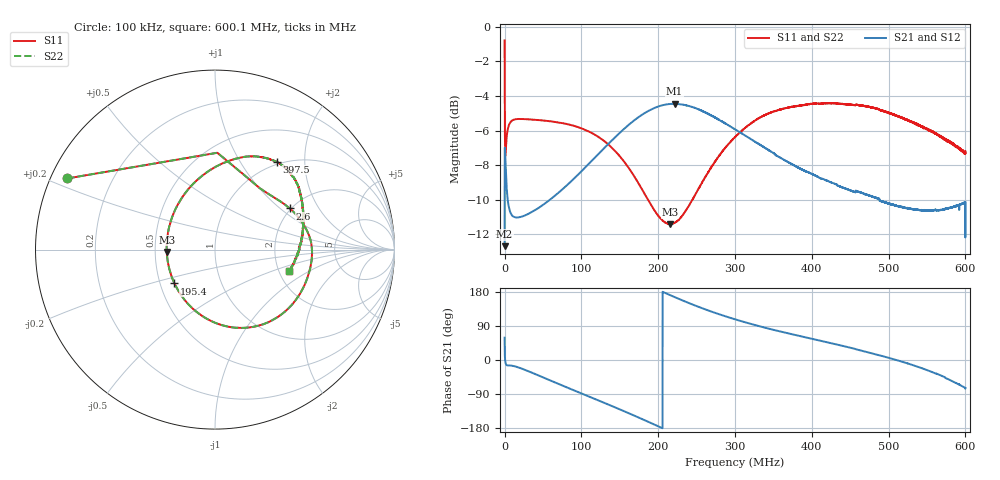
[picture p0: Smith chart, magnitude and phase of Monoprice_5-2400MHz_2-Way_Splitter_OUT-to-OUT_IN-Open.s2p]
! ListType=Lin
! Comment=Monoprice_5-2400MHz_2-Way_Splitter_OUT-to-OUT_IN-Open
# MHZ S DB R 50
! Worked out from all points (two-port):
!   6000 points, 100 kHz to 600.1 MHz, reference 50 ohm
!   highest |S21| = -4.45 dB at 221.4 MHz (marker M1); lowest = -12.7 dB at 100 kHz (marker M2)
!   |S21| within 3 dB of the highest: 267.3 kHz to 860.2 kHz (592.9 kHz wide, 105 % of centre); 120.2 MHz to 354.3 MHz (234.1 MHz wide, 98.6 % of centre)
!   lowest |S11| = -11.4 dB at 215.6 MHz (marker M3), VSWR 1.74, Z = 28.8 - j0.835 ohm
!   |S11| at or under -10 dB: 186.8 MHz to 244.5 MHz (57.65 MHz wide, 26.7 % of centre)
!   |S22| runs from -11.4 to -0.8 dB; largest |S21 - S12| = 0.039
!   S11 on the Smith chart (normalised r, x): 100 kHz: 0.05, +0.23; 2.6 MHz: 1.97, +1.17; 195.4 MHz: 0.59, -0.24; 397.5 MHz: 0.96, +1.46; 600.1 MHz: 2.28, -0.67
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0.1  -0.79 154.3  -12.68 58.9  -12.70 59.0  -0.79 154.3
2.600417  -6.45 28.8  -9.14 -13.3  -9.14 -13.3  -6.45 28.8
3.40055  -6.13 22.8  -9.65 -14.1  -9.65 -14.1  -6.13 22.8
5.000817  -5.79 15.5  -10.27 -14.3  -10.27 -14.3  -5.79 15.5
13.80228  -5.35 0.2  -11.01 -16.9  -11.01 -16.9  -5.35 0.2
57.60958  -5.45 -26.7  -10.05 -52.3  -10.05 -52.3  -5.45 -26.7
100.1167  -5.87 -49.8  -8.35 -88.2  -8.36 -88.2  -5.87 -49.8
126.8211  -6.51 -66.7  -7.14 -110.6  -7.15 -110.6  -6.51 -66.7
150.225  -7.49 -84.9  -6.12 -130.4  -6.12 -130.4  -7.49 -84.9
172.3287  -8.89 -107.5  -5.29 -149.8  -5.29 -149.8  -8.89 -107.5
195.4326  -10.62 -140.2  -4.69 -170.7  -4.69 -170.7  -10.62 -140.2
200.1333  -10.92 -148.2  -4.61 -174.9  -4.61 -174.9  -10.92 -148.2
215.6359  -11.40 -177.1  -4.46 171.2  -4.46 171.2  -11.41 -177.2
221.4369  -11.32 171.8  -4.45 166.1  -4.45 166.1  -11.32 171.8
259.1432  -8.86 116.1  -4.90 135.3  -4.90 135.4  -8.86 116.2
300.15  -6.37 85.4  -5.93 107.4  -5.93 107.5  -6.37 85.4
345.6576  -4.97 67.1  -7.17 81.9  -7.18 81.9  -4.97 67.1
397.4662  -4.46 54.9  -8.45 57.2  -8.45 57.2  -4.46 54.9
400.1667  -4.45 54.4  -8.50 55.9  -8.51 55.9  -4.46 54.4
500.1833  -4.98 32.3  -10.22 5.6  -10.21 5.7  -4.99 32.2
560.7934  -6.16 9.3  -10.57 -35.2  -10.59 -35.2  -6.18 9.4
600.1  -7.31 -16.1  -10.14 -73.7  -10.15 -73.7  -7.29 -16.0
